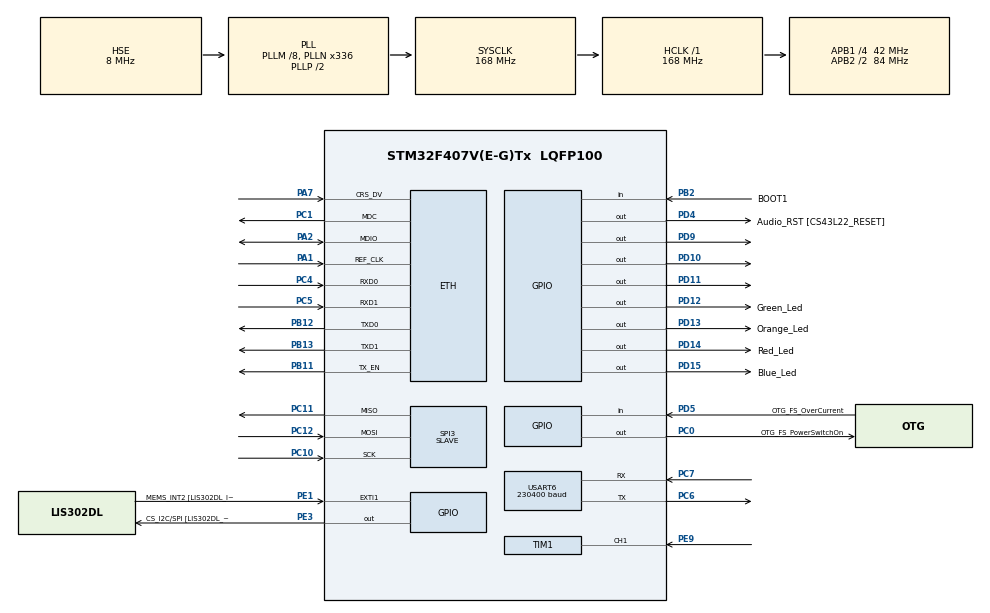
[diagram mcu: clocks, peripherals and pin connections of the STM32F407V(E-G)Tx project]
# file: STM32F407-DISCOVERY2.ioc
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Dma.Request0=USART6_TX
Dma.Request1=SPI3_RX
Dma.Request2=SPI3_TX
Dma.SPI3_RX.1.Direction=DMA_PERIPH_TO_MEMORY
Dma.SPI3_RX.1.FIFOMode=DMA_FIFOMODE_DISABLE
Dma.SPI3_RX.1.Instance=DMA1_Stream0
Dma.SPI3_RX.1.MemDataAlignment=DMA_MDATAALIGN_BYTE
Dma.SPI3_RX.1.MemInc=DMA_MINC_ENABLE
Dma.SPI3_RX.1.Mode=DMA_NORMAL
Dma.SPI3_RX.1.PeriphDataAlignment=DMA_PDATAALIGN_BYTE
Dma.SPI3_RX.1.PeriphInc=DMA_PINC_DISABLE
Dma.SPI3_RX.1.Priority=DMA_PRIORITY_VERY_HIGH
Dma.SPI3_TX.2.Direction=DMA_MEMORY_TO_PERIPH
Dma.SPI3_TX.2.FIFOMode=DMA_FIFOMODE_DISABLE
Dma.SPI3_TX.2.Instance=DMA1_Stream5
Dma.SPI3_TX.2.MemDataAlignment=DMA_MDATAALIGN_BYTE
Dma.SPI3_TX.2.MemInc=DMA_MINC_ENABLE
Dma.SPI3_TX.2.Mode=DMA_NORMAL
Dma.SPI3_TX.2.PeriphDataAlignment=DMA_PDATAALIGN_BYTE
Dma.SPI3_TX.2.PeriphInc=DMA_PINC_DISABLE
Dma.SPI3_TX.2.Priority=DMA_PRIORITY_HIGH
Dma.USART6_TX.0.Direction=DMA_MEMORY_TO_PERIPH
Dma.USART6_TX.0.FIFOMode=DMA_FIFOMODE_DISABLE
Dma.USART6_TX.0.Instance=DMA2_Stream6
Dma.USART6_TX.0.MemDataAlignment=DMA_MDATAALIGN_BYTE
Dma.USART6_TX.0.MemInc=DMA_MINC_ENABLE
Dma.USART6_TX.0.Mode=DMA_NORMAL
Dma.USART6_TX.0.PeriphDataAlignment=DMA_PDATAALIGN_BYTE
Dma.USART6_TX.0.PeriphInc=DMA_PINC_DISABLE
Dma.USART6_TX.0.Priority=DMA_PRIORITY_HIGH
ETH.MACAddr=00\:13\:37\:01\:23\:45
ETH.MediaInterface=ETH_MEDIA_INTERFACE_RMII
LWIP.GATEWAY_ADDRESS=192.168.001.001
LWIP.IP_ADDRESS=192.168.001.101
LWIP.LWIP_DHCP=0
LWIP.LWIP_TCP=1
LWIP.LWIP_TIMERS=0
LWIP.MEMP_NUM_LOCALHOSTLIST=5
LWIP.MEMP_NUM_TCP_SEG=24
LWIP.NETMASK_ADDRESS=255.255.255.000
LWIP.TCP_MSS=460
LWIP.TCP_SND_BUF=1840
LWIP.TCP_WND=2048
LWIP.Version=v2.1.2_Cube
Mcu.Family=STM32F4
Mcu.Name=STM32F407V(E-G)Tx
Mcu.Package=LQFP100
NVIC.DMA1_Stream0_IRQn=true\:0\:0\:false\:false\:true\:false\:true
NVIC.DMA1_Stream5_IRQn=true\:0\:0\:false\:false\:true\:false\:true
NVIC.DMA2_Stream6_IRQn=true\:0\:0\:false\:false\:true\:false\:true
NVIC.ETH_IRQn=true\:0\:0\:false\:false\:true\:true\:true
NVIC.PriorityGroup=NVIC_PRIORITYGROUP_4
NVIC.SPI3_IRQn=true\:0\:0\:false\:false\:true\:true\:true
NVIC.TIM1_BRK_TIM9_IRQn=true\:0\:0\:false\:false\:true\:true\:true
NVIC.TIM1_CC_IRQn=true\:0\:0\:false\:false\:true\:true\:true
NVIC.TIM1_TRG_COM_TIM11_IRQn=true\:0\:0\:false\:false\:true\:true\:true
NVIC.TIM1_UP_TIM10_IRQn=true\:0\:0\:false\:false\:true\:true\:true
NVIC.USART6_IRQn=true\:0\:0\:false\:false\:true\:true\:true
PA1.Mode=RMII
PA1.Signal=ETH_REF_CLK
PA10.GPIO_Label=OTG_FS_ID
PA10.GPIO_Mode=GPIO_MODE_AF_PP
PA10.GPIO_PuPd=GPIO_NOPULL
PA10.GPIO_Speed=GPIO_SPEED_FREQ_LOW
PA10.Signal=USB_OTG_FS_ID
PA11.GPIO_Label=OTG_FS_DM
PA11.GPIO_Mode=GPIO_MODE_AF_PP
PA11.GPIO_PuPd=GPIO_NOPULL
PA11.GPIO_Speed=GPIO_SPEED_FREQ_LOW
PA11.Signal=USB_OTG_FS_DM
PA12.GPIO_Label=OTG_FS_DP
PA12.GPIO_Mode=GPIO_MODE_AF_PP
PA12.GPIO_PuPd=GPIO_NOPULL
PA12.GPIO_Speed=GPIO_SPEED_FREQ_LOW
PA12.Signal=USB_OTG_FS_DP
PA13.GPIO_Label=SWDIO
PA13.Mode=Serial_Wire
PA13.Signal=SYS_JTMS-SWDIO
PA14.GPIO_Label=SWCLK
PA14.Mode=Serial_Wire
PA14.Signal=SYS_JTCK-SWCLK
PA2.Mode=RMII
PA2.Signal=ETH_MDIO
PA7.Mode=RMII
PA7.Signal=ETH_CRS_DV
PA9.GPIO_Label=VBUS_FS
PA9.GPIO_Mode=GPIO_MODE_INPUT
PA9.GPIO_PuPd=GPIO_NOPULL
PA9.Signal=USB_OTG_FS_VBUS
PB11.Mode=RMII
PB11.Signal=ETH_TX_EN
PB12.Mode=RMII
PB12.Signal=ETH_TXD0
PB13.Mode=RMII
PB13.Signal=ETH_TXD1
PB2.GPIO_Label=BOOT1
PB2.GPIO_Mode=GPIO_MODE_INPUT
PB2.GPIO_PuPd=GPIO_NOPULL
PB2.Signal=GPIO_Input
PB3.GPIO_Label=SWO
PB3.Signal=SYS_JTDO-SWO
PB6.GPIO_Label=Audio_SCL [CS43L22_SCL]
PB6.GPIO_Mode=GPIO_MODE_AF_OD
PB6.GPIO_Pu=GPIO_PULLUP
PB6.GPIO_PuPd=GPIO_NOPULL
PB6.GPIO_Speed=GPIO_SPEED_FREQ_LOW
PB6.Signal=I2C1_SCL
PB9.GPIO_Label=Audio_SDA [CS43L22_SDA]
PB9.GPIO_Mode=GPIO_MODE_AF_OD
PB9.GPIO_Pu=GPIO_PULLUP
PB9.GPIO_PuPd=GPIO_NOPULL
PB9.GPIO_Speed=GPIO_SPEED_FREQ_LOW
PB9.Signal=I2C1_SDA
PC0.GPIO_Label=OTG_FS_PowerSwitchOn
PC0.GPIO_PuPd=GPIO_NOPULL
PC0.GPIO_Speed=GPIO_SPEED_FREQ_LOW
PC0.PinState=GPIO_PIN_SET
PC0.Signal=GPIO_Output
PC1.Mode=RMII
PC1.Signal=ETH_MDC
PC10.GPIO_PuPd=GPIO_PULLDOWN
PC10.Mode=Full_Duplex_Slave
PC10.Signal=SPI3_SCK
PC11.GPIO_PuPd=GPIO_PULLUP
PC11.Mode=Full_Duplex_Slave
PC11.Signal=SPI3_MISO
PC12.GPIO_PuPd=GPIO_PULLDOWN
PC12.Mode=Full_Duplex_Slave
PC12.Signal=SPI3_MOSI
PC14-OSC32_IN.GPIO_Label=PC14-OSC32_IN
PC14-OSC32_IN.Mode=LSE-External-Oscillator
PC14-OSC32_IN.Signal=RCC_OSC32_IN
PC15-OSC32_OUT.GPIO_Label=PC15-OSC32_OUT
PC15-OSC32_OUT.Mode=LSE-External-Oscillator
PC15-OSC32_OUT.Signal=RCC_OSC32_OUT
PC4.Mode=RMII
PC4.Signal=ETH_RXD0
PC5.Mode=RMII
PC5.Signal=ETH_RXD1
PC6.Mode=Asynchronous
PC6.Signal=USART6_TX
PC7.Mode=Asynchronous
PC7.Signal=USART6_RX
PD10.GPIO_Speed=GPIO_SPEED_FREQ_VERY_HIGH
PD10.Signal=GPIO_Output
PD11.GPIO_Speed=GPIO_SPEED_FREQ_VERY_HIGH
PD11.PinState=GPIO_PIN_SET
PD11.Signal=GPIO_Output
PD12.GPIO_Label=Green_Led
PD12.GPIO_PuPd=GPIO_NOPULL
PD12.GPIO_Speed=GPIO_SPEED_FREQ_VERY_HIGH
PD12.Signal=GPIO_Output
PD13.GPIO_Label=Orange_Led
PD13.GPIO_PuPd=GPIO_NOPULL
PD13.GPIO_Speed=GPIO_SPEED_FREQ_VERY_HIGH
PD13.Signal=GPIO_Output
PD14.GPIO_Label=Red_Led
PD14.GPIO_PuPd=GPIO_NOPULL
PD14.GPIO_Speed=GPIO_SPEED_FREQ_VERY_HIGH
PD14.Signal=GPIO_Output
PD15.GPIO_Label=Blue_Led
PD15.GPIO_PuPd=GPIO_NOPULL
PD15.GPIO_Speed=GPIO_SPEED_FREQ_VERY_HIGH
PD15.Signal=GPIO_Output
PD4.GPIO_Label=Audio_RST [CS43L22_RESET]
PD4.GPIO_PuPd=GPIO_NOPULL
PD4.GPIO_Speed=GPIO_SPEED_FREQ_LOW
PD4.Signal=GPIO_Output
PD5.GPIO_Label=OTG_FS_OverCurrent
PD5.GPIO_Mode=GPIO_MODE_INPUT
PD5.GPIO_PuPd=GPIO_NOPULL
PD5.Signal=GPIO_Input
PD9.GPIO_Speed=GPIO_SPEED_FREQ_VERY_HIGH
PD9.Signal=GPIO_Output
PE1.GPIO_Label=MEMS_INT2 [LIS302DL_INT2]
PE1.GPIO_ModeDefaultEXTI=GPIO_MODE_EVT_RISING
PE1.GPIO_PuPd=GPIO_NOPULL
PE1.Signal=GPXTI1
PE3.GPIO_Label=CS_I2C/SPI [LIS302DL_CS_I2C/SPI]
PE3.GPIO_PuPd=GPIO_NOPULL
PE3.GPIO_Speed=GPIO_SPEED_FREQ_LOW
PE3.Signal=GPIO_Output
PE9.Signal=S_TIM1_CH1
PH0-OSC_IN.GPIO_Label=PH0-OSC_IN
PH0-OSC_IN.Mode=HSE-External-Oscillator
PH0-OSC_IN.Signal=RCC_OSC_IN
PH1-OSC_OUT.GPIO_Label=PH1-OSC_OUT
PH1-OSC_OUT.Mode=HSE-External-Oscillator
PH1-OSC_OUT.Signal=RCC_OSC_OUT
ProjectManager.HeapSize=0x2000
ProjectManager.StackSize=0x4000
ProjectManager.TargetToolchain=STM32CubeIDE
RCC.48MHZClocksFreq_Value=48000000
RCC.AHBFreq_Value=168000000
RCC.APB1CLKDivider=RCC_HCLK_DIV4
RCC.APB1Freq_Value=42000000
RCC.APB1TimFreq_Value=84000000
RCC.APB2CLKDivider=RCC_HCLK_DIV2
RCC.APB2Freq_Value=84000000
RCC.APB2TimFreq_Value=168000000
RCC.CortexFreq_Value=168000000
RCC.HCLKFreq_Value=168000000
RCC.HSE_VALUE=8000000
RCC.HSI_VALUE=16000000
RCC.PLLM=8
RCC.PLLN=336
RCC.PLLQ=7
RCC.PLLSourceVirtual=RCC_PLLSOURCE_HSE
RCC.SYSCLKFreq_VALUE=168000000
RCC.SYSCLKSource=RCC_SYSCLKSOURCE_PLLCLK
RCC.VCOOutputFreq_Value=336000000
SH.S_TIM1_CH1.0=TIM1_CH1,Input_Capture1_from_TI1
SH.S_TIM1_CH1.1=TIM1_CH1,TriggerSource_TI1FP1
SPI3.CLKPhase=SPI_PHASE_1EDGE
SPI3.CLKPolarity=SPI_POLARITY_LOW
SPI3.DataSize=SPI_DATASIZE_8BIT
SPI3.Direction=SPI_DIRECTION_2LINES
SPI3.Mode=SPI_MODE_SLAVE
SPI3.VirtualType=VM_SLAVE
TIM1.Channel-Input_Capture1_from_TI1=TIM_CHANNEL_1
TIM1.ICPolarity_CH1=TIM_INPUTCHANNELPOLARITY_FALLING
TIM1.Period=20730
TIM1.TIM_MasterOutputTrigger=TIM_TRGO_RESET
TIM1.TIM_MasterSlaveMode=TIM_MASTERSLAVEMODE_DISABLE
USART6.BaudRate=230400
USART6.VirtualMode=VM_ASYNC
VP_LWIP_VS_Enabled.Mode=Enabled
VP_TIM1_VS_ClockSourceINT.Mode=Internal
VP_TIM1_VS_ControllerModeReset.Mode=Reset Mode
board=STM32F407G-DISC1

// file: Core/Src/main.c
/* USER CODE BEGIN Header */
/**
  ******************************************************************************
  * @file           : main.c
  * @brief          : Main program body
  ******************************************************************************
  * @attention
  *
  * Copyright (c) 2023 STMicroelectronics.
  * All rights reserved.
  *
  * This software is licensed under terms that can be found in the LICENSE file
  * in the root directory of this software component.
  * If no LICENSE file comes with this software, it is provided AS-IS.
  *
  ******************************************************************************
  */

/* USER CODE END Header */
#include "main.h"
#include "lwip.h"

/* USER CODE BEGIN Includes */
#include "stdio.h"
#include "stdarg.h"
#include "net.h"
/* USER CODE END Includes */

/* USER CODE BEGIN PTD */
#define delayUS_ASM(us) do {                           \
asm volatile ("MOV R0,%[loops]\n                       \
              1: \n                                    \
              SUB R0, #1\n                             \
              CMP R0, #0\n                             \
              BNE 1b \t"                               \
              : : [loops] "r" (34*us) : "memory"        \
              );                                       \
} while(0)

/* USER CODE END PTD */

SPI_HandleTypeDef hspi3;
DMA_HandleTypeDef hdma_spi3_rx;
DMA_HandleTypeDef hdma_spi3_tx;

TIM_HandleTypeDef htim1;

UART_HandleTypeDef huart6;
DMA_HandleTypeDef hdma_usart6_tx;

/* USER CODE BEGIN PV */
uint32_t countF0 = 0;
uint8_t capture = 0;
volatile uint8_t sendOk = 0;
volatile uint8_t receive = 0;
uint8_t tim3end = 0;
uint8_t dmaEnd = 0;
extern struct netif gnetif;
extern char str[30];
uint8_t rxBuf[MAX_PACKET_LEN ];
uint8_t txBuf[MAX_PACKET_LEN ];
uint8_t testReceive[MAX_PACKET_LEN] = {0x55, 0xff, 0x55, 0xff, 0x55, 0xff, 0x55, 0xff, 0x55,
                                       0xff, 0x55, 0xff, 0xff, 0xff, 0xff, 0xff };
/* USER CODE END PV */

void SystemClock_Config(void);
static void MX_GPIO_Init(void);
static void MX_DMA_Init(void);
static void MX_USART6_UART_Init(void);
static void MX_SPI3_Init(void);
static void MX_TIM1_Init(void);
/* USER CODE BEGIN PFP */
void packetSendUDP();
void UART_Printf(const char* fmt, ...);
void HAL_TIM_PeriodElapsedCallback(TIM_HandleTypeDef *htim)
{
// Этот обратный вызов автоматически вызывается HAL при возникновении события UEV
    if(htim->Instance == TIM1) //check if the interrupt comes from TIM1
    {
        ++capture;
        HAL_GPIO_WritePin(GPIOD, GPIO_PIN_10, GPIO_PIN_SET);
        HAL_GPIO_WritePin(GPIOD, GPIO_PIN_10, GPIO_PIN_RESET);

//        HAL_GPIO_WritePin(GPIOD, GPIO_PIN_11, GPIO_PIN_SET);
//        HAL_GPIO_WritePin(GPIOD, GPIO_PIN_11, GPIO_PIN_RESET);
        if (capture == 2)
        {
            sendOk = 0;
            HAL_SPI_TransmitReceive(&hspi3, txBuf , rxBuf, MAX_PACKET_LEN, 0x1000);
            memcpy(txBuf, rxBuf + 1, MAX_PACKET_LEN);
        }
        if (capture == 1)
        {
            HAL_GPIO_WritePin(GPIOD, GPIO_PIN_9, GPIO_PIN_SET);
            HAL_GPIO_WritePin(GPIOD, GPIO_PIN_9, GPIO_PIN_RESET);
            receive = 1;

        }
    }

}

void HAL_SPI_TxCpltCallback(SPI_HandleTypeDef *hspi)
{
    if(hspi->Instance == SPI3)
    {
        HAL_GPIO_WritePin(GPIOD, GPIO_PIN_9, GPIO_PIN_SET);
        HAL_GPIO_WritePin(GPIOD, GPIO_PIN_9, GPIO_PIN_RESET);
    }
}
void HAL_SPI_RxCpltCallback(SPI_HandleTypeDef *hspi)
{
//    if(hspi->Instance == SPI3)
//    {
//        HAL_GPIO_WritePin(GPIOD, GPIO_PIN_11, GPIO_PIN_SET);
//        HAL_GPIO_WritePin(GPIOD, GPIO_PIN_11, GPIO_PIN_RESET);
//    }
}
    uint8_t buf[16];
void HAL_TIM_IC_CaptureCallback(TIM_HandleTypeDef *htim)
{
    capture = 0;
    receive = 0;

    HAL_GPIO_WritePin(GPIOD, GPIO_PIN_11, GPIO_PIN_SET);
    HAL_GPIO_WritePin(GPIOD, GPIO_PIN_11, GPIO_PIN_RESET);
//     send = 1;
//     packetSendUDP();

}

/* USER CODE END PFP */

int main(void)
{

  /* MCU Configuration--------------------------------------------------------*/

  /* Reset of all peripherals, Initializes the Flash interface and the Systick. */
  HAL_Init();

  /* Configure the system clock */
  SystemClock_Config();

  /* Initialize all configured peripherals */
  MX_GPIO_Init();
  MX_DMA_Init();
  MX_USART6_UART_Init();
  MX_LWIP_Init();
  MX_SPI3_Init();
  MX_TIM1_Init();
  /* USER CODE BEGIN 2 */
    udp_client_connect();
  /* USER CODE END 2 */

  /* Infinite loop */
  /* USER CODE BEGIN WHILE */

//    uint8_t beginPacket = 0;
//    uint8_t singleByte = 0;

    /* USER CODE END WHILE */

    /* USER CODE BEGIN 3 */

    HAL_TIM_Base_Start_IT(&htim1);
    HAL_TIM_IC_Start_IT(&htim1, TIM_CHANNEL_1);
    UART_Printf("Start\r\n");
while (1)
{
#if(0)
    f4DISCOVERY2
    Весь код в функции void HAL_TIM_IC_CaptureCallback(TIM_HandleTypeDef *htim)
    SPI1 - (режим Full duplex Slave) получаем данные
            SYN - PA5  (синхро с телефона)
            MOSI - PB5 (DSTI сигнал с телефона)
            MISO - PA6 (Подмена DSTO - то что получали из линии)

    SPI2 - тестовая выдача данных (режим Full duplex Slave)
            SYN - PB10  (синхро с телефона)
            MISO - PC2  (тестовая выдача)

    SPI1 SPI2 отключил теперь SPI3
            SYN - PC10
            MOSI - PC12
            MISO - PC11

F0 подаем на вход таймера TIM12 (PB14) и по переднему входу захват и переход в обработчик
F0 подаем на вход таймера TIM1 (PE9) и по переднему входу захват и переход в обработчик

Между F0 - 125 мкс - 32 канала по 8 бит  - 256 бит
Контроллер воспринимает как 64 байта (в два раза чаще)
Считываем 16 байт (в реальности это 8 байт - 8 каналов) используется у нас только 4 или 5 каналов

#endif

        if (receive == 1)
            ethernetif_input(&gnetif);
//    if (send == 1)
////            && (dmaEnd == 1))
//    {
////        delayUS_ASM(30);
////
//        HAL_GPIO_WritePin(GPIOD, GPIO_PIN_11, GPIO_PIN_RESET);
//        packetSendUDP();
//        send = 0;
//        dmaEnd = 0;
//        HAL_GPIO_WritePin(GPIOD, GPIO_PIN_11, GPIO_PIN_SET);
//    }
//    if (tim3end == 1)
//    {
//        tim3end = 0;
//HAL_SPI_Transmit_DMA(&hspi3, testReceive,  MAX_PACKET_LEN);
//    }

//    GPIOD->ODR = 0b0100000000000000; // оно же в hex 0x4000, оно же в dec 16384, оно же сдвиг (1 << 14)
//    HAL_Delay(200);
//    GPIOD->ODR = 0b0010000000000000; //  оно же сдвиг (1 << 13)
//    HAL_Delay(200);

}//while (1)
  /* USER CODE END 3 */
}

void SystemClock_Config(void)
{
  RCC_OscInitTypeDef RCC_OscInitStruct = {0};
  RCC_ClkInitTypeDef RCC_ClkInitStruct = {0};

  /** Configure the main internal regulator output voltage
  */
  __HAL_RCC_PWR_CLK_ENABLE();
  __HAL_PWR_VOLTAGESCALING_CONFIG(PWR_REGULATOR_VOLTAGE_SCALE1);
  /** Initializes the RCC Oscillators according to the specified parameters
  * in the RCC_OscInitTypeDef structure.
  */
  RCC_OscInitStruct.OscillatorType = RCC_OSCILLATORTYPE_HSE;
  RCC_OscInitStruct.HSEState = RCC_HSE_ON;
  RCC_OscInitStruct.PLL.PLLState = RCC_PLL_ON;
  RCC_OscInitStruct.PLL.PLLSource = RCC_PLLSOURCE_HSE;
  RCC_OscInitStruct.PLL.PLLM = 8;
  RCC_OscInitStruct.PLL.PLLN = 336;
  RCC_OscInitStruct.PLL.PLLP = RCC_PLLP_DIV2;
  RCC_OscInitStruct.PLL.PLLQ = 7;
  if (HAL_RCC_OscConfig(&RCC_OscInitStruct) != HAL_OK)
  {
    Error_Handler();
  }
  /** Initializes the CPU, AHB and APB buses clocks
  */
  RCC_ClkInitStruct.ClockType = RCC_CLOCKTYPE_HCLK|RCC_CLOCKTYPE_SYSCLK
                              |RCC_CLOCKTYPE_PCLK1|RCC_CLOCKTYPE_PCLK2;
  RCC_ClkInitStruct.SYSCLKSource = RCC_SYSCLKSOURCE_PLLCLK;
  RCC_ClkInitStruct.AHBCLKDivider = RCC_SYSCLK_DIV1;
  RCC_ClkInitStruct.APB1CLKDivider = RCC_HCLK_DIV4;
  RCC_ClkInitStruct.APB2CLKDivider = RCC_HCLK_DIV2;

  if (HAL_RCC_ClockConfig(&RCC_ClkInitStruct, FLASH_LATENCY_5) != HAL_OK)
  {
    Error_Handler();
  }
}

static void MX_SPI3_Init(void)
{

  /* SPI3 parameter configuration*/
  hspi3.Instance = SPI3;
  hspi3.Init.Mode = SPI_MODE_SLAVE;
  hspi3.Init.Direction = SPI_DIRECTION_2LINES;
  hspi3.Init.DataSize = SPI_DATASIZE_8BIT;
  hspi3.Init.CLKPolarity = SPI_POLARITY_LOW;
  hspi3.Init.CLKPhase = SPI_PHASE_1EDGE;
  hspi3.Init.NSS = SPI_NSS_SOFT;
  hspi3.Init.FirstBit = SPI_FIRSTBIT_MSB;
  hspi3.Init.TIMode = SPI_TIMODE_DISABLE;
  hspi3.Init.CRCCalculation = SPI_CRCCALCULATION_DISABLE;
  hspi3.Init.CRCPolynomial = 10;
  if (HAL_SPI_Init(&hspi3) != HAL_OK)
  {
    Error_Handler();
  }

}

static void MX_TIM1_Init(void)
{

  TIM_ClockConfigTypeDef sClockSourceConfig = {0};
  TIM_SlaveConfigTypeDef sSlaveConfig = {0};
  TIM_MasterConfigTypeDef sMasterConfig = {0};
  TIM_IC_InitTypeDef sConfigIC = {0};

  htim1.Instance = TIM1;
  htim1.Init.Prescaler = 0;
  htim1.Init.CounterMode = TIM_COUNTERMODE_UP;
  htim1.Init.Period = 20730;
  htim1.Init.ClockDivision = TIM_CLOCKDIVISION_DIV1;
  htim1.Init.RepetitionCounter = 0;
  htim1.Init.AutoReloadPreload = TIM_AUTORELOAD_PRELOAD_DISABLE;
  if (HAL_TIM_Base_Init(&htim1) != HAL_OK)
  {
    Error_Handler();
  }
  sClockSourceConfig.ClockSource = TIM_CLOCKSOURCE_INTERNAL;
  if (HAL_TIM_ConfigClockSource(&htim1, &sClockSourceConfig) != HAL_OK)
  {
    Error_Handler();
  }
  if (HAL_TIM_IC_Init(&htim1) != HAL_OK)
  {
    Error_Handler();
  }
  sSlaveConfig.SlaveMode = TIM_SLAVEMODE_RESET;
  sSlaveConfig.InputTrigger = TIM_TS_TI1FP1;
  sSlaveConfig.TriggerPolarity = TIM_INPUTCHANNELPOLARITY_FALLING;
  sSlaveConfig.TriggerFilter = 0;
  if (HAL_TIM_SlaveConfigSynchro(&htim1, &sSlaveConfig) != HAL_OK)
  {
    Error_Handler();
  }
  sMasterConfig.MasterOutputTrigger = TIM_TRGO_RESET;
  sMasterConfig.MasterSlaveMode = TIM_MASTERSLAVEMODE_DISABLE;
  if (HAL_TIMEx_MasterConfigSynchronization(&htim1, &sMasterConfig) != HAL_OK)
  {
    Error_Handler();
  }
  sConfigIC.ICPolarity = TIM_INPUTCHANNELPOLARITY_FALLING;
  sConfigIC.ICSelection = TIM_ICSELECTION_DIRECTTI;
  sConfigIC.ICPrescaler = TIM_ICPSC_DIV1;
  sConfigIC.ICFilter = 0;
  if (HAL_TIM_IC_ConfigChannel(&htim1, &sConfigIC, TIM_CHANNEL_1) != HAL_OK)
  {
    Error_Handler();
  }

}

static void MX_USART6_UART_Init(void)
{

  huart6.Instance = USART6;
  huart6.Init.BaudRate = 230400;
  huart6.Init.WordLength = UART_WORDLENGTH_8B;
  huart6.Init.StopBits = UART_STOPBITS_1;
  huart6.Init.Parity = UART_PARITY_NONE;
  huart6.Init.Mode = UART_MODE_TX_RX;
  huart6.Init.HwFlowCtl = UART_HWCONTROL_NONE;
  huart6.Init.OverSampling = UART_OVERSAMPLING_16;
  if (HAL_UART_Init(&huart6) != HAL_OK)
  {
    Error_Handler();
  }

}

static void MX_DMA_Init(void)
{

  /* DMA controller clock enable */
  __HAL_RCC_DMA2_CLK_ENABLE();
  __HAL_RCC_DMA1_CLK_ENABLE();

  /* DMA interrupt init */
  /* DMA1_Stream0_IRQn interrupt configuration */
  HAL_NVIC_SetPriority(DMA1_Stream0_IRQn, 0, 0);
  HAL_NVIC_EnableIRQ(DMA1_Stream0_IRQn);
  /* DMA1_Stream5_IRQn interrupt configuration */
  HAL_NVIC_SetPriority(DMA1_Stream5_IRQn, 0, 0);
  HAL_NVIC_EnableIRQ(DMA1_Stream5_IRQn);
  /* DMA2_Stream6_IRQn interrupt configuration */
  HAL_NVIC_SetPriority(DMA2_Stream6_IRQn, 0, 0);
  HAL_NVIC_EnableIRQ(DMA2_Stream6_IRQn);

}

static void MX_GPIO_Init(void)
{
  GPIO_InitTypeDef GPIO_InitStruct = {0};

  /* GPIO Ports Clock Enable */
  __HAL_RCC_GPIOE_CLK_ENABLE();
  __HAL_RCC_GPIOC_CLK_ENABLE();
  __HAL_RCC_GPIOH_CLK_ENABLE();
  __HAL_RCC_GPIOA_CLK_ENABLE();
  __HAL_RCC_GPIOB_CLK_ENABLE();
  __HAL_RCC_GPIOD_CLK_ENABLE();

  /*Configure GPIO pin Output Level */
  HAL_GPIO_WritePin(CS_I2C_SPI_GPIO_Port, CS_I2C_SPI_Pin, GPIO_PIN_RESET);

  /*Configure GPIO pin Output Level */
  HAL_GPIO_WritePin(OTG_FS_PowerSwitchOn_GPIO_Port, OTG_FS_PowerSwitchOn_Pin, GPIO_PIN_SET);

  /*Configure GPIO pin Output Level */
  HAL_GPIO_WritePin(GPIOD, GPIO_PIN_9|GPIO_PIN_10|Green_Led_Pin|Orange_Led_Pin
                          |Red_Led_Pin|Blue_Led_Pin|Audio_RST_Pin, GPIO_PIN_RESET);

  /*Configure GPIO pin Output Level */
  HAL_GPIO_WritePin(GPIOD, GPIO_PIN_11, GPIO_PIN_SET);

  /*Configure GPIO pin : CS_I2C_SPI_Pin */
  GPIO_InitStruct.Pin = CS_I2C_SPI_Pin;
  GPIO_InitStruct.Mode = GPIO_MODE_OUTPUT_PP;
  GPIO_InitStruct.Pull = GPIO_NOPULL;
  GPIO_InitStruct.Speed = GPIO_SPEED_FREQ_LOW;
  HAL_GPIO_Init(CS_I2C_SPI_GPIO_Port, &GPIO_InitStruct);

  /*Configure GPIO pin : OTG_FS_PowerSwitchOn_Pin */
  GPIO_InitStruct.Pin = OTG_FS_PowerSwitchOn_Pin;
  GPIO_InitStruct.Mode = GPIO_MODE_OUTPUT_PP;
  GPIO_InitStruct.Pull = GPIO_NOPULL;
  GPIO_InitStruct.Speed = GPIO_SPEED_FREQ_LOW;
  HAL_GPIO_Init(OTG_FS_PowerSwitchOn_GPIO_Port, &GPIO_InitStruct);

  /*Configure GPIO pin : BOOT1_Pin */
  GPIO_InitStruct.Pin = BOOT1_Pin;
  GPIO_InitStruct.Mode = GPIO_MODE_INPUT;
  GPIO_InitStruct.Pull = GPIO_NOPULL;
  HAL_GPIO_Init(BOOT1_GPIO_Port, &GPIO_InitStruct);

  /*Configure GPIO pins : PD9 PD10 PD11 Green_Led_Pin
                           Orange_Led_Pin Red_Led_Pin Blue_Led_Pin */
  GPIO_InitStruct.Pin = GPIO_PIN_9|GPIO_PIN_10|GPIO_PIN_11|Green_Led_Pin
                          |Orange_Led_Pin|Red_Led_Pin|Blue_Led_Pin;
  GPIO_InitStruct.Mode = GPIO_MODE_OUTPUT_PP;
  GPIO_InitStruct.Pull = GPIO_NOPULL;
  GPIO_InitStruct.Speed = GPIO_SPEED_FREQ_VERY_HIGH;
  HAL_GPIO_Init(GPIOD, &GPIO_InitStruct);

  /*Configure GPIO pin : VBUS_FS_Pin */
  GPIO_InitStruct.Pin = VBUS_FS_Pin;
  GPIO_InitStruct.Mode = GPIO_MODE_INPUT;
  GPIO_InitStruct.Pull = GPIO_NOPULL;
  HAL_GPIO_Init(VBUS_FS_GPIO_Port, &GPIO_InitStruct);

  /*Configure GPIO pins : OTG_FS_ID_Pin OTG_FS_DM_Pin OTG_FS_DP_Pin */
  GPIO_InitStruct.Pin = OTG_FS_ID_Pin|OTG_FS_DM_Pin|OTG_FS_DP_Pin;
  GPIO_InitStruct.Mode = GPIO_MODE_AF_PP;
  GPIO_InitStruct.Pull = GPIO_NOPULL;
  GPIO_InitStruct.Speed = GPIO_SPEED_FREQ_LOW;
  GPIO_InitStruct.Alternate = GPIO_AF10_OTG_FS;
  HAL_GPIO_Init(GPIOA, &GPIO_InitStruct);

  /*Configure GPIO pin : Audio_RST_Pin */
  GPIO_InitStruct.Pin = Audio_RST_Pin;
  GPIO_InitStruct.Mode = GPIO_MODE_OUTPUT_PP;
  GPIO_InitStruct.Pull = GPIO_NOPULL;
  GPIO_InitStruct.Speed = GPIO_SPEED_FREQ_LOW;
  HAL_GPIO_Init(Audio_RST_GPIO_Port, &GPIO_InitStruct);

  /*Configure GPIO pin : OTG_FS_OverCurrent_Pin */
  GPIO_InitStruct.Pin = OTG_FS_OverCurrent_Pin;
  GPIO_InitStruct.Mode = GPIO_MODE_INPUT;
  GPIO_InitStruct.Pull = GPIO_NOPULL;
  HAL_GPIO_Init(OTG_FS_OverCurrent_GPIO_Port, &GPIO_InitStruct);

  /*Configure GPIO pins : Audio_SCL_Pin Audio_SDA_Pin */
  GPIO_InitStruct.Pin = Audio_SCL_Pin|Audio_SDA_Pin;
  GPIO_InitStruct.Mode = GPIO_MODE_AF_OD;
  GPIO_InitStruct.Pull = GPIO_PULLUP;
  GPIO_InitStruct.Speed = GPIO_SPEED_FREQ_LOW;
  GPIO_InitStruct.Alternate = GPIO_AF4_I2C1;
  HAL_GPIO_Init(GPIOB, &GPIO_InitStruct);

  /*Configure GPIO pin : MEMS_INT2_Pin */
  GPIO_InitStruct.Pin = MEMS_INT2_Pin;
  GPIO_InitStruct.Mode = GPIO_MODE_EVT_RISING;
  GPIO_InitStruct.Pull = GPIO_NOPULL;
  HAL_GPIO_Init(MEMS_INT2_GPIO_Port, &GPIO_InitStruct);

}

/* USER CODE BEGIN 4 */
void UART_Printf(const char* fmt, ...) {
    char buff[256];
    va_list args;
    va_start(args, fmt);
    vsnprintf(buff, sizeof(buff), fmt, args);
    HAL_UART_Transmit(&huart6, (uint8_t*)buff, strlen(buff),
                      HAL_MAX_DELAY);
    va_end(args);
}
/* USER CODE END 4 */

void Error_Handler(void)
{
  __disable_irq();
  while (1)
  {
  }
}
